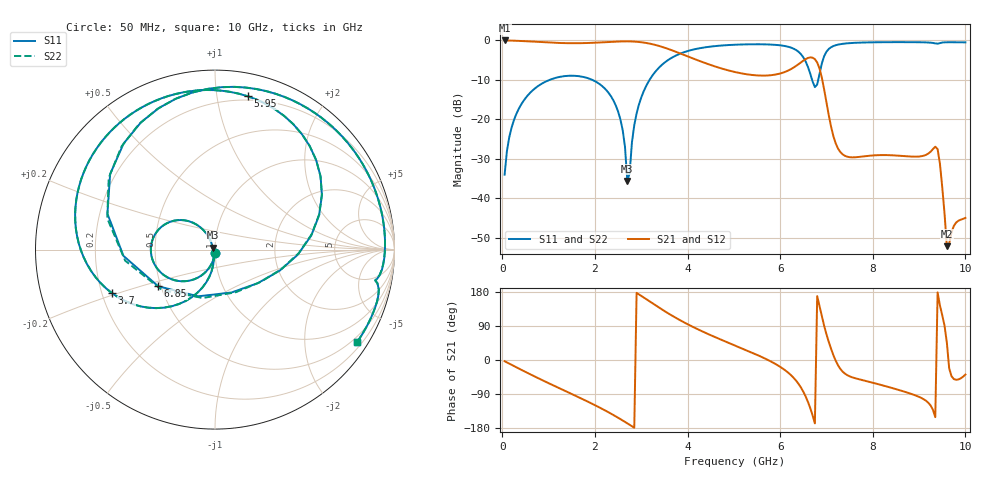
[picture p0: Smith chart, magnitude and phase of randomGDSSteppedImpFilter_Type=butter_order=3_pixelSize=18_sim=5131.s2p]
! freq	dB(S11)	phase(S11)	dB(S12)	phase(S12)
!  dB(S21)	phase(S21)	dB(S22)	phase(S22)
!S-par simulation data
#  GHz  S  DB  R 50
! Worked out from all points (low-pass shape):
!   200 points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, 50 MHz to 10 GHz, reference 50 ohm
!   highest |S21| = -0.01 dB at 50 MHz (marker M1); lowest = -52.1 dB at 9.6 GHz (marker M2)
!   |S21| within 3 dB of the highest: start of sweep to 3.779 GHz
!   lowest |S11| = -35.6 dB at 2.7 GHz (marker M3), VSWR 1.03, Z = 48.8 + j1.07 ohm
!   |S11| at or under -10 dB: start of sweep to 1.021 GHz; 1.944 GHz to 3.181 GHz (1.237 GHz wide, 48.3 % of centre); 6.69 GHz to 6.822 GHz (131.4 MHz wide, 1.94 % of centre)
!   |S22| runs from -35.5 to -0.4 dB; largest |S21 - S12| = 0
!   S11 on the Smith chart (normalised r, x): 50 MHz: 1.00, -0.04; 3.7 GHz: 0.24, -0.19; 5.95 GHz: 0.17, +1.22; 6.85 GHz: 0.48, -0.23; 10 GHz: 0.35, -3.33
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0.05  -34.01 -92.9  -0.01 -3.2  -0.01 -3.2  -34.01 -92.9
0.2  -22.11 -103.0  -0.05 -12.7  -0.05 -12.7  -22.11 -103.0
0.5  -14.64 -121.9  -0.20 -31.4  -0.20 -31.4  -14.64 -121.9
1.75  -9.25 165.7  -0.68 -104.2  -0.68 -104.2  -9.25 165.7
2.45  -16.45 123.4  -0.30 -148.7  -0.30 -148.7  -16.45 123.5
2.6  -22.74 116.6  -0.25 -159.6  -0.25 -159.6  -22.73 116.7
2.7  -35.60 138.8  -0.24 -167.1  -0.24 -167.1  -35.52 139.5
2.95  -16.27 -101.6  -0.39 173.2  -0.39 173.2  -16.27 -101.7
3.4  -6.71 -135.1  -1.45 137.0  -1.45 137.0  -6.71 -135.1
3.7  -4.12 -156.9  -2.65 114.6  -2.65 114.6  -4.12 -157.0
4.3  -1.89 165.7  -5.39 76.5  -5.39 76.5  -1.89 165.7
5.05  -1.07 127.0  -8.07 37.0  -8.07 37.0  -1.07 127.0
5.95  -1.17 77.9  -8.53 -14.2  -8.53 -14.2  -1.17 77.9
6.4  -2.91 34.7  -5.99 -63.5  -5.99 -63.5  -2.89 34.9
6.7  -10.38 -38.2  -4.37 -145.9  -4.37 -145.9  -10.12 -35.2
6.85  -8.48 -147.2  -7.10 142.0  -7.10 142.0  -8.59 -142.8
7  -2.85 144.2  -15.72 67.8  -15.72 67.8  -2.92 146.0
7.25  -1.06 98.0  -27.40 -14.1  -27.40 -14.1  -1.08 98.7
8.35  -0.44 29.9  -29.06 -71.6  -29.06 -71.6  -0.44 30.1
9.4  -0.82 -11.0  -27.55 178.3  -27.55 178.3  -0.84 -10.8
9.6  -0.46 -18.0  -52.12 45.4  -52.12 45.4  -0.46 -17.9
10  -0.49 -33.1  -44.96 -38.4  -44.96 -38.4  -0.49 -33.0
